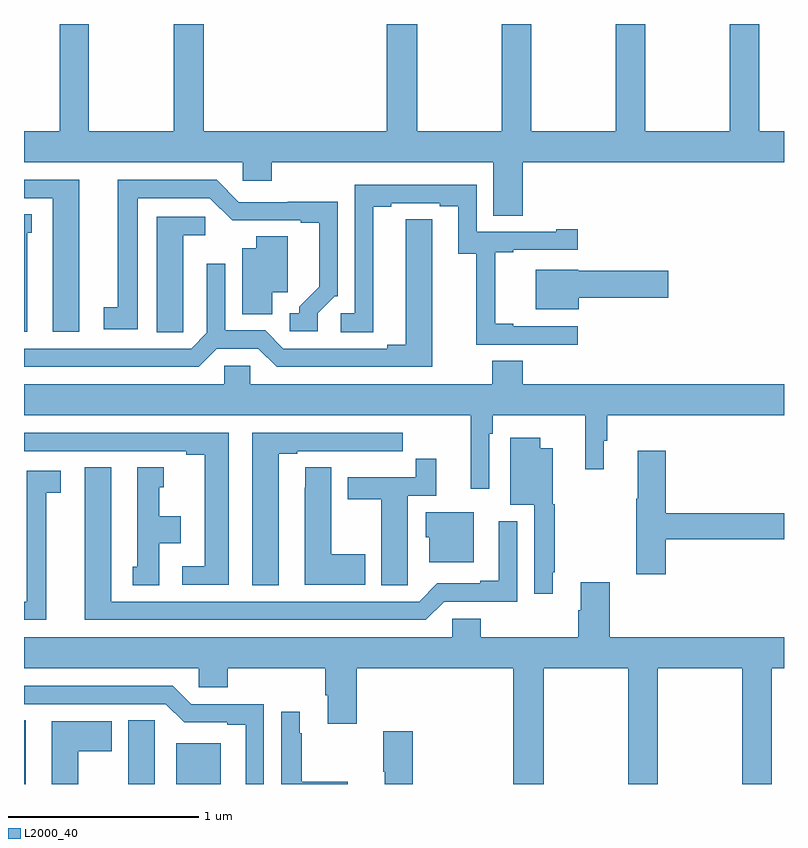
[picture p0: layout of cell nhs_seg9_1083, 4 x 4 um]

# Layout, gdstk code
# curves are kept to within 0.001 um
import gdstk
lib = gdstk.Library(unit=1e-6, precision=1e-09)
def R(c, l, rs):  # rectangles x0, y0, x1, y1
    for r in rs: c.add(gdstk.rectangle(r[:2], r[2:], *l))
def P(c, l, *ps):  # polygons
    for p in ps: c.add(gdstk.Polygon(p, *l))
L2000_40 = (2000, 40)

nhs_seg9_1083 = lib.new_cell('nhs_seg9_1083')
R(nhs_seg9_1083, L2000_40, [(171,1174.5,171.01,1174.835), (171.8,1174.5,172.036,1174.714)])
P(nhs_seg9_1083, L2000_40, [(173.624,1177.772),(175,1177.772),(175,1177.936),(174.87,1177.936),(174.87,1178.5),(174.715,1178.5),(174.715,1177.936),(174.27,1177.936),(174.27,1178.5),(174.115,1178.5),(174.115,1177.936),(173.67,1177.936),(173.67,1178.5),(173.515,1178.5),(173.515,1177.936),(173.07,1177.936),(173.07,1178.5),(172.91,1178.5),(172.91,1177.936),(171.947,1177.936),(171.947,1178.5),(171.787,1178.5),(171.787,1177.936),(171.342,1177.936),(171.342,1178.5),(171.187,1178.5),(171.187,1177.936),(171,1177.936),(171,1177.772),(172.152,1177.772),(172.152,1177.674),(172.304,1177.674),(172.304,1177.772),(173.471,1177.772),(173.471,1177.492),(173.624,1177.492)],
  [(172.545,1176.978),(172.635,1177.068),(172.65,1177.068),(172.65,1177.565),(172.387,1177.565),(172.387,1177.563),(172.131,1177.563),(172.014,1177.68),(171.494,1177.68),(171.494,1177.01),(171.42,1177.01),(171.42,1176.894),(171.598,1176.894),(171.598,1177.584),(171.978,1177.584),(172.096,1177.466),(172.457,1177.467),(172.457,1177.455),(172.553,1177.455),(172.553,1177.118),(172.448,1177.013),(172.448,1176.978),(172.398,1176.978),(172.398,1176.882),(172.545,1176.882)],
  [(171.292,1177.68),(171,1177.68),(171,1177.584),(171.152,1177.584),(171.152,1176.879),(171.292,1176.879)],
  [(173.914,1176.909),(173.575,1176.909),(173.575,1176.922),(173.48,1176.922),(173.48,1177.299),(173.575,1177.299),(173.575,1177.311),(173.914,1177.311),(173.914,1177.42),(173.801,1177.42),(173.801,1177.407),(173.382,1177.407),(173.382,1177.653),(172.74,1177.653),(172.74,1176.978),(172.668,1176.978),(172.668,1176.877),(172.837,1176.877),(172.837,1177.537),(172.933,1177.537),(172.933,1177.557),(173.189,1177.557),(173.189,1177.542),(173.285,1177.542),(173.285,1177.291),(173.38,1177.291),(173.38,1176.813),(173.914,1176.813)],
  [(171.016,1177.401),(171.04,1177.401),(171.04,1177.499),(171,1177.499),(171,1176.879),(171.016,1176.879)],
  [(171.837,1176.985),(171.838,1176.985),(171.838,1177.388),(171.955,1177.388),(171.955,1177.485),(171.698,1177.485),(171.698,1176.877),(171.837,1176.877)],
  [(172.015,1176.792),(172.233,1176.792),(172.329,1176.696),(173.149,1176.696),(173.148,1177.472),(173.009,1177.472),(173.009,1176.812),(172.913,1176.812),(172.913,1176.792),(172.365,1176.792),(172.269,1176.888),(172.059,1176.888),(172.059,1177.237),(171.963,1177.237),(171.963,1176.876),(171.879,1176.792),(171,1176.792),(171,1176.696),(171.919,1176.696)],
  [(172.306,1177.088),(172.387,1177.088),(172.387,1177.382),(172.223,1177.382),(172.223,1177.321),(172.148,1177.321),(172.148,1176.973),(172.306,1176.973)],
  [(173.92,1177.06),(174.391,1177.06),(174.391,1177.202),(173.916,1177.202),(173.916,1177.207),(173.693,1177.207),(173.693,1176.998),(173.92,1176.998)],
  [(173.448,1176.344),(173.468,1176.344),(173.468,1176.44),(173.953,1176.44),(173.953,1176.156),(174.052,1176.156),(174.052,1176.306),(174.071,1176.306),(174.071,1176.44),(175,1176.44),(175,1176.604),(173.624,1176.604),(173.624,1176.728),(173.464,1176.728),(173.464,1176.604),(172.191,1176.604),(172.191,1176.702),(172.053,1176.702),(172.053,1176.604),(171,1176.604),(171,1176.44),(173.351,1176.44),(173.351,1176.054),(173.448,1176.054)],
  [(172.078,1176.348),(171,1176.348),(171,1176.252),(171.854,1176.252),(171.854,1176.232),(171.95,1176.232),(171.95,1175.646),(171.834,1175.646),(171.834,1175.55),(172.078,1175.55)],
  [(172.342,1176.237),(172.438,1176.237),(172.438,1176.252),(172.714,1176.252),(172.714,1176.251),(172.88,1176.251),(172.88,1176.252),(172.993,1176.252),(172.993,1176.348),(172.202,1176.348),(172.202,1175.545),(172.342,1175.545)],
  [(173.782,1175.614),(173.794,1175.614),(173.794,1175.973),(173.782,1175.973),(173.782,1176.268),(173.716,1176.268),(173.716,1176.322),(173.558,1176.322),(173.558,1175.969),(173.685,1175.969),(173.685,1175.502),(173.782,1175.502)],
  [(174.377,1175.788),(175,1175.788),(175,1175.924),(174.377,1175.924),(174.377,1176.253),(174.23,1176.253),(174.23,1176.001),(174.223,1176.001),(174.223,1175.604),(174.377,1175.604)],
  [(173.019,1175.656),(173.02,1175.656),(173.02,1176.018),(173.171,1176.018),(173.171,1176.211),(173.062,1176.211),(173.062,1176.114),(172.703,1176.114),(172.703,1175.998),(172.88,1175.998),(172.88,1175.545),(173.019,1175.545)],
  [(172.795,1175.709),(172.618,1175.709),(172.618,1176.167),(172.479,1176.167),(172.479,1176.059),(172.478,1176.059),(172.478,1175.549),(172.795,1175.549)],
  [(171.712,1175.768),(171.826,1175.768),(171.826,1175.908),(171.712,1175.908),(171.712,1176.063),(171.736,1176.063),(171.736,1176.166),(171.596,1176.166),(171.596,1175.643),(171.572,1175.643),(171.572,1175.545),(171.712,1175.545)],
  [(173.211,1175.46),(173.595,1175.46),(173.595,1175.884),(173.498,1175.884),(173.498,1175.569),(173.402,1175.569),(173.402,1175.556),(173.175,1175.556),(173.079,1175.46),(171.46,1175.46),(171.46,1176.166),(171.32,1176.166),(171.32,1175.364),(173.115,1175.364)],
  [(171.118,1176.034),(171.193,1176.034),(171.193,1176.15),(171.014,1176.15),(171.014,1175.46),(171,1175.46),(171,1175.364),(171.118,1175.364)],
  [(173.368,1175.929),(173.114,1175.929),(173.114,1175.799),(173.132,1175.799),(173.132,1175.666),(173.368,1175.666)],
  [(173.736,1175.108),(174.181,1175.108),(174.181,1174.5),(174.336,1174.5),(174.336,1175.108),(174.781,1175.108),(174.781,1174.5),(174.936,1174.5),(174.936,1175.108),(175,1175.108),(175,1175.272),(174.083,1175.272),(174.083,1175.563),(173.93,1175.563),(173.93,1175.414),(173.918,1175.414),(173.918,1175.272),(173.405,1175.272),(173.405,1175.37),(173.253,1175.37),(173.253,1175.272),(171,1175.272),(171,1175.108),(171.921,1175.108),(171.921,1175.01),(172.073,1175.01),(172.073,1175.108),(172.586,1175.108),(172.586,1174.966),(172.598,1174.966),(172.598,1174.818),(172.751,1174.818),(172.751,1175.108),(173.576,1175.108),(173.576,1174.5),(173.736,1174.5)],
  [(172.263,1174.92),(171.879,1174.92),(171.783,1175.016),(171,1175.016),(171,1174.92),(171.747,1174.92),(171.843,1174.824),(172.07,1174.824),(172.07,1174.812),(172.166,1174.812),(172.166,1174.5),(172.263,1174.5)],
  [(172.705,1174.511),(172.462,1174.511),(172.462,1174.766),(172.45,1174.766),(172.45,1174.879),(172.353,1174.879),(172.353,1174.5),(172.705,1174.5)],
  [(171.688,1174.724),(171.687,1174.724),(171.687,1174.835),(171.548,1174.835),(171.548,1174.5),(171.688,1174.5)],
  [(171.286,1174.672),(171.463,1174.672),(171.463,1174.831),(171.146,1174.831),(171.146,1174.5),(171.286,1174.5)],
  [(173.045,1174.777),(172.891,1174.777),(172.891,1174.564),(172.898,1174.564),(172.898,1174.5),(173.045,1174.5)])

lib.write_gds('nhs_seg9_1083.gds')
